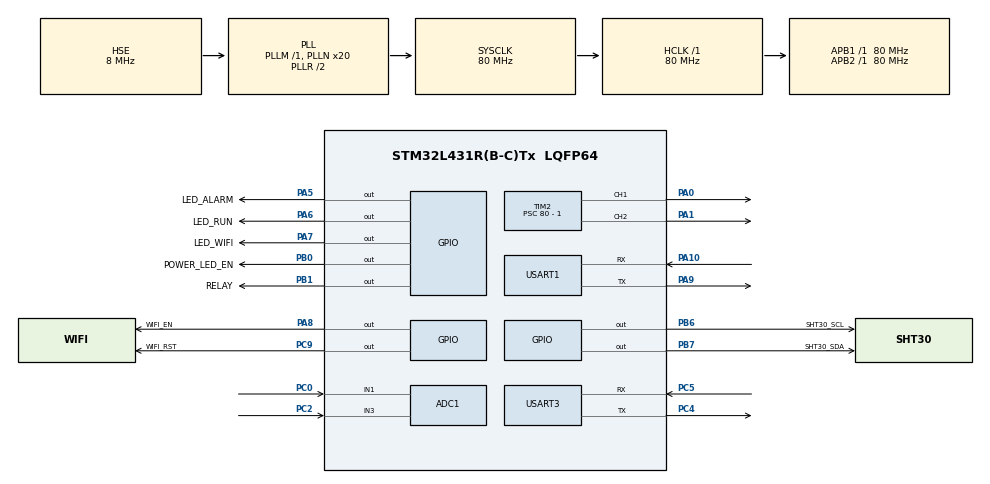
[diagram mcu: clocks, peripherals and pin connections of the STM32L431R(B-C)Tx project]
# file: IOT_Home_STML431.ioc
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ADC1.Channel-0\#ChannelRegularConversion=ADC_CHANNEL_1
ADC1.Channel-2\#ChannelRegularConversion=ADC_CHANNEL_3
ADC1.ContinuousConvMode=ENABLE
ADC1.DMAContinuousRequests=ENABLE
ADC1.DiscontinuousConvMode=DISABLE
ADC1.NbrOfConversion=2
ADC1.NbrOfConversionFlag=1
ADC1.OffsetNumber-0\#ChannelRegularConversion=ADC_OFFSET_NONE
ADC1.OffsetNumber-2\#ChannelRegularConversion=ADC_OFFSET_NONE
ADC1.Rank-0\#ChannelRegularConversion=1
ADC1.Rank-2\#ChannelRegularConversion=2
ADC1.SamplingTime-0\#ChannelRegularConversion=ADC_SAMPLETIME_6CYCLES_5
ADC1.SamplingTime-2\#ChannelRegularConversion=ADC_SAMPLETIME_6CYCLES_5
ADC1.master=1
Dma.ADC1.2.Direction=DMA_PERIPH_TO_MEMORY
Dma.ADC1.2.Instance=DMA1_Channel1
Dma.ADC1.2.MemDataAlignment=DMA_MDATAALIGN_HALFWORD
Dma.ADC1.2.MemInc=DMA_MINC_ENABLE
Dma.ADC1.2.Mode=DMA_CIRCULAR
Dma.ADC1.2.PeriphDataAlignment=DMA_PDATAALIGN_HALFWORD
Dma.ADC1.2.PeriphInc=DMA_PINC_DISABLE
Dma.ADC1.2.Priority=DMA_PRIORITY_MEDIUM
Dma.Request0=USART3_RX
Dma.Request1=USART3_TX
Dma.Request2=ADC1
Dma.USART3_RX.0.Direction=DMA_PERIPH_TO_MEMORY
Dma.USART3_RX.0.Instance=DMA1_Channel3
Dma.USART3_RX.0.MemDataAlignment=DMA_MDATAALIGN_BYTE
Dma.USART3_RX.0.MemInc=DMA_MINC_ENABLE
Dma.USART3_RX.0.Mode=DMA_NORMAL
Dma.USART3_RX.0.PeriphDataAlignment=DMA_PDATAALIGN_BYTE
Dma.USART3_RX.0.PeriphInc=DMA_PINC_DISABLE
Dma.USART3_RX.0.Priority=DMA_PRIORITY_HIGH
Dma.USART3_TX.1.Direction=DMA_MEMORY_TO_PERIPH
Dma.USART3_TX.1.Instance=DMA1_Channel2
Dma.USART3_TX.1.MemDataAlignment=DMA_MDATAALIGN_BYTE
Dma.USART3_TX.1.MemInc=DMA_MINC_ENABLE
Dma.USART3_TX.1.Mode=DMA_NORMAL
Dma.USART3_TX.1.PeriphDataAlignment=DMA_PDATAALIGN_BYTE
Dma.USART3_TX.1.PeriphInc=DMA_PINC_DISABLE
Dma.USART3_TX.1.Priority=DMA_PRIORITY_MEDIUM
Mcu.Family=STM32L4
Mcu.Name=STM32L431R(B-C)Tx
Mcu.Package=LQFP64
NVIC.DMA1_Channel2_IRQn=true\:1\:1\:true\:false\:true\:false\:true\:true\:true
NVIC.DMA1_Channel3_IRQn=true\:1\:0\:true\:false\:true\:false\:true\:true\:true
NVIC.PriorityGroup=NVIC_PRIORITYGROUP_2
NVIC.TIM1_UP_TIM16_IRQn=true\:3\:0\:false\:false\:true\:false\:false\:true\:true
NVIC.TIM6_DAC_IRQn=true\:2\:2\:true\:false\:true\:false\:true\:true\:true
NVIC.TimeBase=TIM1_UP_TIM16_IRQn
NVIC.TimeBaseIP=TIM16
NVIC.USART1_IRQn=true\:2\:3\:true\:false\:true\:false\:true\:true\:true
NVIC.USART3_IRQn=true\:2\:0\:true\:false\:true\:false\:true\:true\:true
PA0.Signal=S_TIM2_CH1
PA1.Signal=S_TIM2_CH2
PA10.Mode=Asynchronous
PA10.Signal=USART1_RX
PA13\ (JTMS-SWDIO).Mode=Serial_Wire
PA13\ (JTMS-SWDIO).Signal=SYS_JTMS-SWDIO
PA14\ (JTCK-SWCLK).Mode=Serial_Wire
PA14\ (JTCK-SWCLK).Signal=SYS_JTCK-SWCLK
PA5.GPIO_Label=LED_ALARM
PA5.PinState=GPIO_PIN_SET
PA5.Signal=GPIO_Output
PA6.GPIO_Label=LED_RUN
PA6.PinState=GPIO_PIN_SET
PA6.Signal=GPIO_Output
PA7.GPIO_Label=LED_WIFI
PA7.PinState=GPIO_PIN_SET
PA7.Signal=GPIO_Output
PA8.GPIO_Label=WIFI_EN
PA8.PinState=GPIO_PIN_SET
PA8.Signal=GPIO_Output
PA9.Mode=Asynchronous
PA9.Signal=USART1_TX
PB0.GPIO_Label=POWER_LED_EN
PB0.Signal=GPIO_Output
PB1.GPIO_Label=RELAY
PB1.Signal=GPIO_Output
PB6.GPIO_Label=SHT30_SCL
PB6.GPIO_ModeDefaultOutputPP=GPIO_MODE_OUTPUT_OD
PB6.GPIO_PuPd=GPIO_NOPULL
PB6.GPIO_Speed=GPIO_SPEED_FREQ_HIGH
PB6.PinState=GPIO_PIN_SET
PB6.Signal=GPIO_Output
PB7.GPIO_Label=SHT30_SDA
PB7.GPIO_ModeDefaultOutputPP=GPIO_MODE_OUTPUT_OD
PB7.GPIO_PuPd=GPIO_NOPULL
PB7.GPIO_Speed=GPIO_SPEED_FREQ_HIGH
PB7.PinState=GPIO_PIN_SET
PB7.Signal=GPIO_Output
PC0.Signal=ADCx_IN1
PC2.Signal=ADCx_IN3
PC4.Mode=Asynchronous
PC4.Signal=USART3_TX
PC5.Mode=Asynchronous
PC5.Signal=USART3_RX
PC9.GPIO_Label=WIFI_RST
PC9.PinState=GPIO_PIN_SET
PC9.Signal=GPIO_Output
PH0-OSC_IN\ (PH0).Mode=HSE-External-Oscillator
PH0-OSC_IN\ (PH0).Signal=RCC_OSC_IN
PH1-OSC_OUT\ (PH1).Mode=HSE-External-Oscillator
PH1-OSC_OUT\ (PH1).Signal=RCC_OSC_OUT
ProjectManager.HeapSize=0x400
ProjectManager.StackSize=0x800
ProjectManager.TargetToolchain=MDK-ARM V5
RCC.ADCFreq_Value=32000000
RCC.AHBFreq_Value=80000000
RCC.APB1Freq_Value=80000000
RCC.APB1TimFreq_Value=80000000
RCC.APB2Freq_Value=80000000
RCC.APB2TimFreq_Value=80000000
RCC.CortexFreq_Value=80000000
RCC.HCLKFreq_Value=80000000
RCC.HSE_VALUE=8000000
RCC.HSI48_VALUE=48000000
RCC.HSI_VALUE=16000000
RCC.LSE_VALUE=32768
RCC.MSI_VALUE=4000000
RCC.PLLN=20
RCC.PLLSourceVirtual=RCC_PLLSOURCE_HSE
RCC.SYSCLKFreq_VALUE=80000000
RCC.SYSCLKSource=RCC_SYSCLKSOURCE_PLLCLK
RCC.VCOOutputFreq_Value=160000000
RealThread.RT-Thread.3.1.5.RTOSJjkernel=true
RealThread.RT-Thread.3.1.5.RT_ALIGN_SIZE=4
RealThread.RT-Thread.3.1.5.RT_DEBUG=0
RealThread.RT-Thread.3.1.5.RT_DEBUG_INIT=0
RealThread.RT-Thread.3.1.5.RT_TIMER_THREAD_STACK_SIZE=512
RealThread.RT-Thread.3.1.5.RT_USING_HEAP=0
RealThread.RT-Thread.3.1.5.RT_USING_OVERFLOW_CHECK=0
RealThread.RT-Thread.3.1.5.RT_USING_SMALL_MEM=0
SH.ADCx_IN1.0=ADC1_IN1,IN1-Single-Ended
SH.ADCx_IN3.0=ADC1_IN3,IN3-Single-Ended
SH.S_TIM2_CH1.0=TIM2_CH1,PWM Generation1 CH1
SH.S_TIM2_CH2.0=TIM2_CH2,PWM Generation2 CH2
TIM2.AutoReloadPreload=TIM_AUTORELOAD_PRELOAD_ENABLE
TIM2.Channel-PWM\ Generation1\ CH1=TIM_CHANNEL_1
TIM2.Channel-PWM\ Generation2\ CH2=TIM_CHANNEL_2
TIM2.CounterMode=TIM_COUNTERMODE_UP
TIM2.OC1Preload_PWM=DISABLE
TIM2.OC2Preload_PWM=DISABLE
TIM2.OCMode_PWM-PWM\ Generation1\ CH1=TIM_OCMODE_PWM1
TIM2.OCMode_PWM-PWM\ Generation2\ CH2=TIM_OCMODE_PWM1
TIM2.OCPolarity_1=TIM_OCPOLARITY_HIGH
TIM2.OCPolarity_2=TIM_OCPOLARITY_HIGH
TIM2.Period=1000 - 1
TIM2.Prescaler=80 - 1
TIM6.AutoReloadPreload=TIM_AUTORELOAD_PRELOAD_ENABLE
TIM6.Period=5000 - 1
TIM6.Prescaler=80 - 1
TIM7.Prescaler=80 - 1
USART1.VirtualMode-Asynchronous=VM_ASYNC
USART3.VirtualMode-Asynchronous=VM_ASYNC
VP_RealThread.RT-Thread_VS_RTOSJjkernel_3.1.5_3.1.5.Mode=RTOSJjkernel
VP_SYS_VS_tim16.Mode=TIM16
VP_TIM2_VS_ClockSourceINT.Mode=Internal
VP_TIM6_VS_ClockSourceINT.Mode=Enable_Timer
VP_TIM7_VS_ClockSourceINT.Mode=Enable_Timer
board=custom

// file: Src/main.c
/* USER CODE BEGIN Header */
/**
  ******************************************************************************
  * @file           : main.c
  * @brief          : Main program body
  ******************************************************************************
  * @attention
  *
  * Copyright (c) 2023 STMicroelectronics.
  * All rights reserved.
  *
  * This software is licensed under terms that can be found in the LICENSE file
  * in the root directory of this software component.
  * If no LICENSE file comes with this software, it is provided AS-IS.
  *
  ******************************************************************************
  */
/* USER CODE END Header */
#include "main.h"
#include "adc.h"
#include "dma.h"
#include "tim.h"
#include "usart.h"
#include "gpio.h"

/* USER CODE BEGIN Includes */
#include <rtthread.h>
#include <string.h>
#include "Timer6.h"
#include "I2C.h"
#include "SHT30.h"
#include "Brightness.h"
#include "PowerLED.h"
#include "Relay.h"
#include "Fan.h"
#include "MQ_2.h"
/* USER CODE END Includes */

void SystemClock_Config(void);

/* USER CODE BEGIN 0 */
uint8_t dat_Rxd = 0x00;
uint16_t ADC_Value[2] = {0x00};

/* USER CODE END 0 */

int main(void)
{

  /* MCU Configuration--------------------------------------------------------*/

  /* Reset of all peripherals, Initializes the Flash interface and the Systick. */
  HAL_Init();

  /* Configure the system clock */
  SystemClock_Config();

  /* Initialize all configured peripherals */
  MX_GPIO_Init();
  MX_DMA_Init();
  MX_USART1_UART_Init();
  MX_TIM6_Init();
  MX_TIM7_Init();
  MX_ADC1_Init();
  MX_TIM2_Init();
  MX_USART3_UART_Init();
  /* USER CODE BEGIN 2 */
  Timer6.Timer6_Start_IT();
  I2C_Soft.Init();

  HAL_ADCEx_Calibration_Start(&hadc1, ADC_SINGLE_ENDED);
  HAL_ADC_Start_DMA(&hadc1, (uint32_t *)ADC_Value, 2);
  tFAN.Init();
//  HAL_UART_Receive_DMA(&huart3, UART3.pucRec_Buffer, UART3_Rec_LENGTH);
  HAL_UART_Receive_IT(&huart1,  &dat_Rxd, 1);
//  ESP8266.Init();
  __HAL_UART_ENABLE_IT(&huart3, UART_IT_IDLE);

  tBrightness.Init();
  tMQ_2.Init();
  SHT30.Init();
  ESP8266.Init();
  /* USER CODE END 2 */

  /* Infinite loop */
  /* USER CODE BEGIN WHILE */
    while(1)
    {
//        SHT30.Measure_Period_Mode();
//        printf("Wendu = %.1f℃\r\n", SHT30.fTemperature);
//        printf("shidu = %d%%RH\r\n\r\n", (uint16_t)SHT30.ucHumidity);
//        tBrightness.Detect();
//        tMQ_2.Detect();
//        ESP8266.SmartConifg();
//        if(ESP8266.TCP_Connect_Status == FALSE)
//        {
//            if(ESP8266.TCP_Reconnect_Timer >= TIMER6_10S)
//            {
//                ESP8266.TCP_Connect_Server();
//                ESP8266.TCP_Reconnect_Timer = 0;
//            }
//        }
//        printf("%d, %d.\r\n", ADC_Value[0], ADC_Value[1]);
//        ESP8266.Transfer_SHT30();
        HAL_GPIO_TogglePin(LED_ALARM_GPIO_Port, LED_ALARM_Pin);
        rt_thread_mdelay(1000);
    /* USER CODE END WHILE */

    }
}

void SystemClock_Config(void)
{
  RCC_OscInitTypeDef RCC_OscInitStruct = {0};
  RCC_ClkInitTypeDef RCC_ClkInitStruct = {0};

  /** Configure the main internal regulator output voltage
  */
  if (HAL_PWREx_ControlVoltageScaling(PWR_REGULATOR_VOLTAGE_SCALE1) != HAL_OK)
  {
    Error_Handler();
  }

  /** Initializes the RCC Oscillators according to the specified parameters
  * in the RCC_OscInitTypeDef structure.
  */
  RCC_OscInitStruct.OscillatorType = RCC_OSCILLATORTYPE_HSE;
  RCC_OscInitStruct.HSEState = RCC_HSE_ON;
  RCC_OscInitStruct.PLL.PLLState = RCC_PLL_ON;
  RCC_OscInitStruct.PLL.PLLSource = RCC_PLLSOURCE_HSE;
  RCC_OscInitStruct.PLL.PLLM = 1;
  RCC_OscInitStruct.PLL.PLLN = 20;
  RCC_OscInitStruct.PLL.PLLP = RCC_PLLP_DIV7;
  RCC_OscInitStruct.PLL.PLLQ = RCC_PLLQ_DIV2;
  RCC_OscInitStruct.PLL.PLLR = RCC_PLLR_DIV2;
  if (HAL_RCC_OscConfig(&RCC_OscInitStruct) != HAL_OK)
  {
    Error_Handler();
  }

  /** Initializes the CPU, AHB and APB buses clocks
  */
  RCC_ClkInitStruct.ClockType = RCC_CLOCKTYPE_HCLK|RCC_CLOCKTYPE_SYSCLK
                              |RCC_CLOCKTYPE_PCLK1|RCC_CLOCKTYPE_PCLK2;
  RCC_ClkInitStruct.SYSCLKSource = RCC_SYSCLKSOURCE_PLLCLK;
  RCC_ClkInitStruct.AHBCLKDivider = RCC_SYSCLK_DIV1;
  RCC_ClkInitStruct.APB1CLKDivider = RCC_HCLK_DIV1;
  RCC_ClkInitStruct.APB2CLKDivider = RCC_HCLK_DIV1;

  if (HAL_RCC_ClockConfig(&RCC_ClkInitStruct, FLASH_LATENCY_4) != HAL_OK)
  {
    Error_Handler();
  }
}

void HAL_TIM_PeriodElapsedCallback(TIM_HandleTypeDef *htim)
{
  /* USER CODE BEGIN Callback 0 */
	if(htim->Instance == htim6.Instance)
	{
		Timer6.SHT30_Measure_Timeout++;
		Timer6.usDelay_Timer++;
        ESP8266.TCP_Reconnect_Timer++;
		//程序支持运行，指示灯间隔1s闪烁
		if(++Timer6.usMCU_Run_Timer >= TIMER6_1S)
		{
			Timer6.usMCU_Run_Timer = 0;
            HAL_GPIO_TogglePin(LED_RUN_GPIO_Port, LED_RUN_Pin);
		}
	}
  /* USER CODE END Callback 0 */
  if (htim->Instance == TIM16) {
    HAL_IncTick();
  }
}

void Error_Handler(void)
{
    __disable_irq();
    while(1)
    {
    }
}
